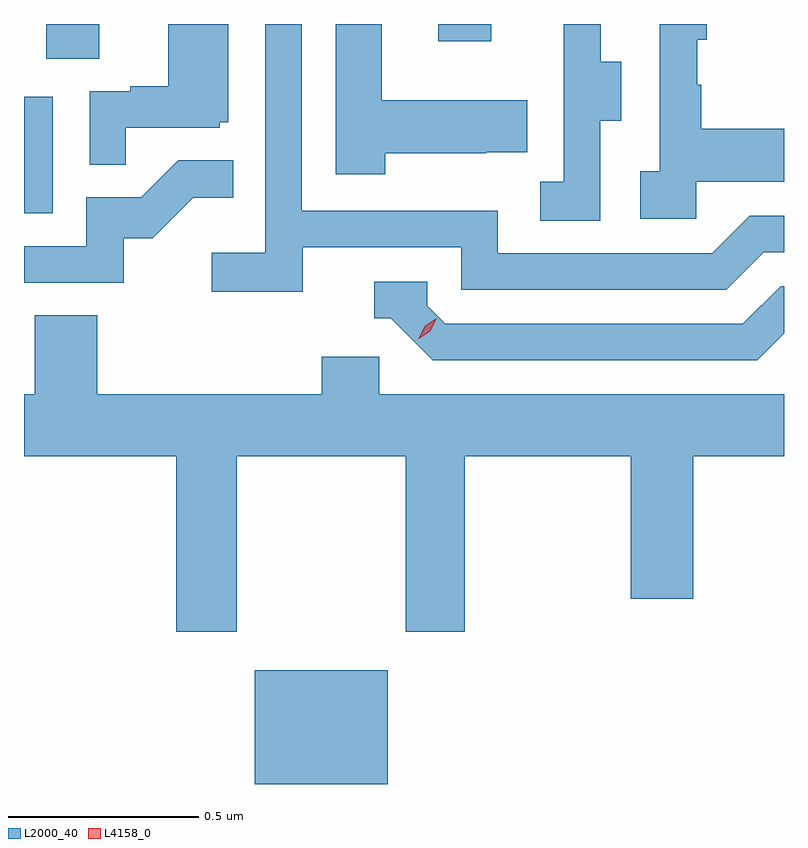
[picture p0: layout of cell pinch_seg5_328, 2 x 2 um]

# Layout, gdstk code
import gdstk
lib = gdstk.Library(unit=1e-6, precision=1e-09)
def R(c, l, rs):  # rectangles x0, y0, x1, y1
    for r in rs: c.add(gdstk.rectangle(r[:2], r[2:], *l))
def P(c, l, *ps):  # polygons
    for p in ps: c.add(gdstk.Polygon(p, *l))
L2000_40 = (2000, 40)
L4158_0 = (4158, 0)

pinch_seg5_328 = lib.new_cell('pinch_seg5_328')
R(pinch_seg5_328, L2000_40, [(943.238,873.214,943.588,873.514), (942.631,874.716,942.706,875.023), (942.689,875.122,942.829,875.214), (943.721,875.169,943.861,875.214)])
P(pinch_seg5_328, L2000_40, [(942.899,874.941),(943.146,874.941),(943.146,874.956),(943.168,874.956),(943.168,875.214),(943.01,875.214),(943.01,875.05),(942.911,875.05),(942.911,875.037),(942.804,875.037),(942.804,874.843),(942.899,874.843)],
  [(943.581,874.874),(943.847,874.874),(943.847,874.877),(943.955,874.877),(943.955,875.014),(943.573,875.014),(943.573,875.214),(943.451,875.214),(943.451,874.818),(943.581,874.818)],
  [(944.148,874.96),(944.203,874.96),(944.203,875.115),(944.149,875.115),(944.149,875.214),(944.051,875.214),(944.051,875.103),(944.052,875.103),(944.052,874.799),(943.989,874.799),(943.989,874.696),(944.148,874.696)],
  [(944.4,874.799),(944.631,874.799),(944.631,874.939),(944.413,874.939),(944.413,875.054),(944.403,875.054),(944.403,875.172),(944.428,875.172),(944.428,875.214),(944.304,875.214),(944.304,874.826),(944.253,874.826),(944.253,874.701),(944.4,874.701)],
  [(943.364,874.626),(943.782,874.626),(943.782,874.515),(944.479,874.515),(944.578,874.614),(944.631,874.614),(944.631,874.71),(944.541,874.71),(944.442,874.611),(943.878,874.611),(943.878,874.723),(943.669,874.723),(943.669,874.722),(943.362,874.722),(943.362,875.214),(943.266,875.214),(943.266,874.612),(943.125,874.612),(943.125,874.51),(943.364,874.51)],
  [(942.894,874.65),(942.97,874.65),(943.077,874.757),(943.181,874.757),(943.181,874.856),(943.037,874.856),(942.939,874.758),(942.795,874.758),(942.795,874.629),(942.631,874.629),(942.631,874.533),(942.894,874.533)],
  [(944.631,874.4),(944.631,874.524),(944.622,874.524),(944.523,874.425),(943.74,874.425),(943.692,874.473),(943.692,874.536),(943.553,874.536),(943.553,874.44),(943.596,874.44),(943.707,874.329),(944.56,874.329)],
  [(943.191,874.076),(943.636,874.076),(943.636,873.615),(943.791,873.615),(943.791,874.076),(944.228,874.076),(944.228,873.702),(944.392,873.702),(944.392,874.076),(944.631,874.076),(944.631,874.24),(943.566,874.24),(943.566,874.338),(943.415,874.338),(943.415,874.24),(942.824,874.24),(942.824,874.448),(942.659,874.448),(942.659,874.24),(942.631,874.24),(942.631,874.076),(943.031,874.076),(943.031,873.615),(943.191,873.615)])
P(pinch_seg5_328, L4158_0, [(943.67,874.386),(943.67,874.387),(943.685,874.419),(943.715,874.439),(943.716,874.439),(943.716,874.439),(943.7,874.406),(943.67,874.386)])

lib.write_gds('pinch_seg5_328.gds')
